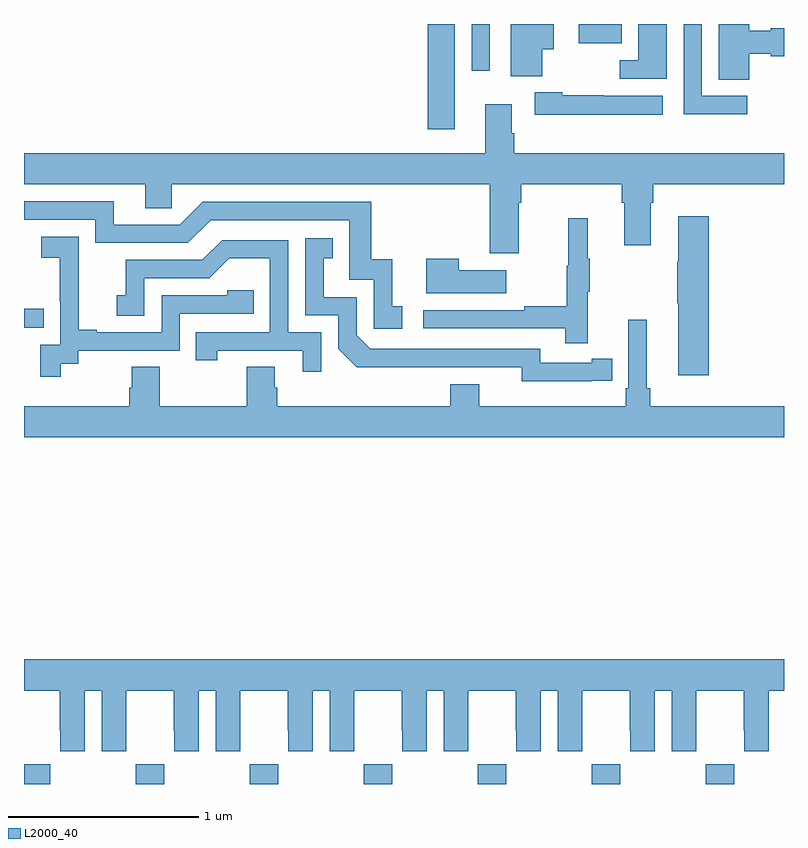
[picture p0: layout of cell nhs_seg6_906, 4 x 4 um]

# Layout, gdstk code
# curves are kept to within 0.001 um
import gdstk
lib = gdstk.Library(unit=1e-6, precision=1e-09)
def R(c, l, rs):  # rectangles x0, y0, x1, y1
    for r in rs: c.add(gdstk.rectangle(r[:2], r[2:], *l))
def A(c, l, x, y, w, h, nx, ny, dx, dy):  # array of equal rectangles
    R(c, l, [(x+i*dx, y+j*dy, x+i*dx+w, y+j*dy+h) for i in range(nx) for j in range(ny)])
def P(c, l, *ps):  # polygons
    for p in ps: c.add(gdstk.Polygon(p, *l))
L2000_40 = (2000, 40)

nhs_seg6_906 = lib.new_cell('nhs_seg6_906')
A(nhs_seg6_906, L2000_40, 167.589, 957.5, 0.15, 0.104, 6, 1, 0.6, 0)
R(nhs_seg6_906, L2000_40, [(167,957.5,167.139,957.604), (167,959.901,167.105,960.002), (169.124,960.945,169.267,961.5), (169.356,961.254,169.452,961.5), (169.919,961.4,170.146,961.5)])
P(nhs_seg6_906, L2000_40, [(170.806,961.122),(170.568,961.122),(170.568,961.5),(170.472,961.5),(170.472,961.025),(170.806,961.025)],
  [(170.818,961.343),(170.931,961.343),(170.931,961.331),(171,961.331),(171,961.478),(170.931,961.478),(170.931,961.465),(170.818,961.465),(170.818,961.5),(170.657,961.5),(170.657,961.207),(170.818,961.207)],
  [(169.728,961.367),(169.789,961.367),(169.789,961.5),(169.562,961.5),(169.562,961.226),(169.728,961.226)],
  [(170.383,961.5),(170.234,961.5),(170.234,961.308),(170.136,961.308),(170.136,961.212),(170.383,961.212)],
  [(170.362,961.123),(170.048,961.123),(170.048,961.126),(169.833,961.126),(169.833,961.141),(169.689,961.141),(169.689,961.022),(170.362,961.022)],
  [(169.603,960.56),(169.616,960.56),(169.616,960.656),(170.147,960.656),(170.147,960.56),(170.159,960.56),(170.159,960.336),(170.299,960.336),(170.299,960.56),(170.312,960.56),(170.312,960.656),(171,960.656),(171,960.82),(169.58,960.82),(169.58,960.926),(169.567,960.926),(169.567,961.078),(169.427,961.078),(169.427,960.82),(167,960.82),(167,960.656),(167.639,960.656),(167.639,960.529),(167.778,960.529),(167.778,960.656),(169.451,960.656),(169.451,960.294),(169.603,960.294)],
  [(168.991,960.015),(168.938,960.015),(168.938,960.262),(168.827,960.262),(168.827,960.564),(167.94,960.564),(167.82,960.444),(167.473,960.444),(167.473,960.567),(167,960.567),(167,960.471),(167.376,960.471),(167.376,960.348),(167.862,960.348),(167.982,960.468),(168.711,960.468),(168.711,960.153),(168.84,960.153),(168.84,959.895),(168.991,959.895)],
  [(170.603,960.487),(170.444,960.487),(170.444,960.248),(170.437,960.248),(170.437,960.031),(170.444,960.031),(170.444,959.652),(170.603,959.652)],
  [(169.967,960.091),(169.978,960.091),(169.978,960.265),(169.967,960.265),(169.967,960.478),(169.864,960.478),(169.864,960.228),(169.857,960.228),(169.857,960.014),(169.633,960.014),(169.633,959.994),(169.101,959.994),(169.101,959.898),(169.849,959.898),(169.849,959.82),(169.967,959.82)],
  [(167.194,959.713),(167.286,959.713),(167.286,959.781),(167.82,959.781),(167.82,959.976),(168.209,959.976),(168.209,960.099),(168.069,960.099),(168.069,960.072),(167.724,960.072),(167.724,959.877),(167.383,959.877),(167.383,959.89),(167.288,959.89),(167.288,960.173),(167.289,960.173),(167.289,960.379),(167.091,960.379),(167.091,960.269),(167.189,960.269),(167.189,960.041),(167.19,960.041),(167.19,959.811),(167.085,959.811),(167.085,959.643),(167.194,959.643)],
  [(169.988,959.622),(170.096,959.622),(170.096,959.738),(169.988,959.738),(169.988,959.718),(169.716,959.718),(169.716,959.79),(168.822,959.79),(168.75,959.862),(168.75,960.063),(168.577,960.063),(168.577,960.267),(168.626,960.267),(168.626,960.373),(168.48,960.373),(168.48,959.967),(168.654,959.967),(168.654,959.79),(168.752,959.693),(169.62,959.694),(169.62,959.621)],
  [(168.564,959.877),(168.39,959.877),(168.39,960.363),(168.044,960.363),(167.939,960.258),(167.536,960.258),(167.536,960.073),(167.487,960.073),(167.487,959.964),(167.634,959.964),(167.634,960.162),(167.976,960.162),(168.08,960.266),(168.294,960.266),(168.294,959.877),(167.905,959.877),(167.905,959.73),(168.016,959.73),(168.016,959.781),(168.467,959.781),(168.467,959.67),(168.564,959.67)],
  [(169.537,960.205),(169.289,960.205),(169.289,960.265),(169.118,960.265),(169.118,960.083),(169.537,960.083)],
  [(171,959.488),(170.297,959.488),(170.297,959.584),(170.278,959.584),(170.278,959.944),(170.181,959.944),(170.181,959.584),(170.168,959.584),(170.168,959.488),(169.396,959.488),(169.396,959.605),(169.244,959.605),(169.244,959.488),(168.332,959.488),(168.332,959.586),(168.319,959.586),(168.319,959.696),(168.172,959.696),(168.172,959.488),(167.715,959.488),(167.715,959.696),(167.567,959.696),(167.567,959.586),(167.555,959.586),(167.555,959.488),(167,959.488),(167,959.324),(171,959.324)],
  [(167.32,957.992),(167.408,957.992),(167.408,957.672),(167.538,957.672),(167.538,957.784),(167.539,957.784),(167.539,957.992),(167.789,957.992),(167.789,957.784),(167.79,957.784),(167.79,957.672),(167.92,957.672),(167.92,957.992),(168.008,957.992),(168.008,957.672),(168.138,957.672),(168.138,957.784),(168.139,957.784),(168.139,957.992),(168.389,957.992),(168.389,957.784),(168.39,957.784),(168.39,957.672),(168.52,957.672),(168.52,957.992),(168.608,957.992),(168.608,957.672),(168.738,957.672),(168.738,957.784),(168.739,957.784),(168.739,957.992),(168.989,957.992),(168.989,957.784),(168.99,957.784),(168.99,957.672),(169.12,957.672),(169.12,957.992),(169.208,957.992),(169.208,957.672),(169.338,957.672),(169.338,957.784),(169.339,957.784),(169.339,957.992),(169.589,957.992),(169.589,957.784),(169.59,957.784),(169.59,957.672),(169.72,957.672),(169.72,957.992),(169.808,957.992),(169.808,957.672),(169.938,957.672),(169.938,957.784),(169.939,957.784),(169.939,957.992),(170.189,957.992),(170.189,957.784),(170.19,957.784),(170.19,957.672),(170.32,957.672),(170.32,957.992),(170.408,957.992),(170.408,957.672),(170.538,957.672),(170.538,957.784),(170.539,957.784),(170.539,957.992),(170.789,957.992),(170.789,957.784),(170.79,957.784),(170.79,957.672),(170.92,957.672),(170.92,957.992),(171,957.992),(171,958.156),(167,958.156),(167,957.992),(167.189,957.992),(167.189,957.784),(167.19,957.784),(167.19,957.672),(167.32,957.672)])

lib.write_gds('nhs_seg6_906.gds')
